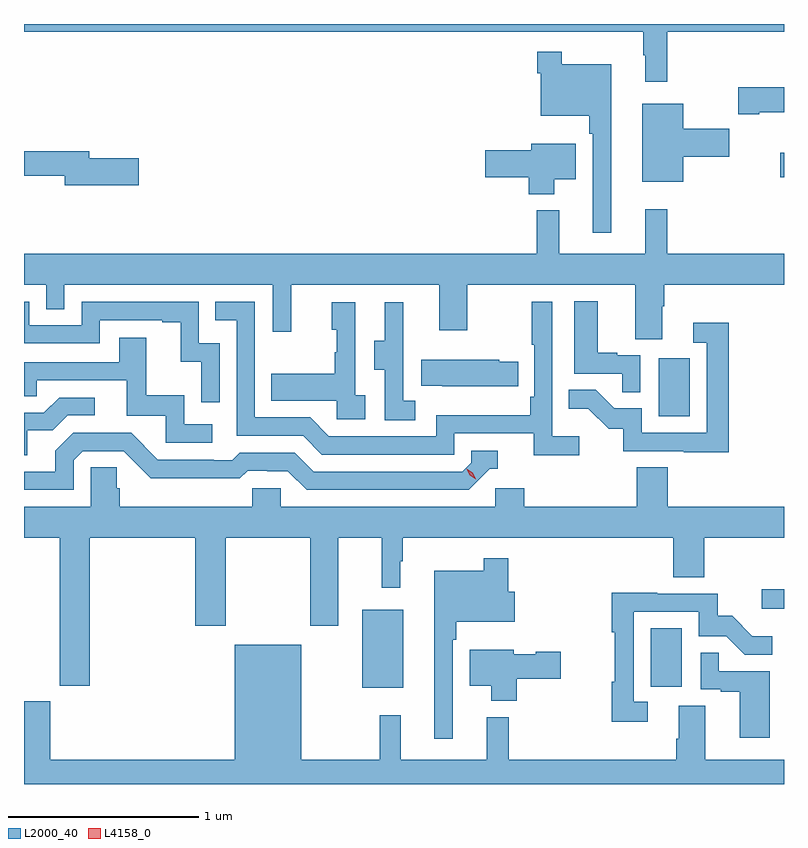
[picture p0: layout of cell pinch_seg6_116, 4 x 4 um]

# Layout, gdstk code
import gdstk
lib = gdstk.Library(unit=1e-6, precision=1e-09)
def R(c, l, rs):  # rectangles x0, y0, x1, y1
    for r in rs: c.add(gdstk.rectangle(r[:2], r[2:], *l))
def P(c, l, *ps):  # polygons
    for p in ps: c.add(gdstk.Polygon(p, *l))
L2000_40 = (2000, 40)
L4158_0 = (4158, 0)

pinch_seg6_116 = lib.new_cell('pinch_seg6_116')
R(pinch_seg6_116, L2000_40, [(995.192,929.231,995.407,929.641), (996.71,929.238,996.874,929.545), (997.293,929.648,997.411,929.75), (996.752,930.66,996.916,930.967), (997.392,931.918,997.411,932.047)])
P(pinch_seg6_116, L2000_40, [(996.797,932.684),(997.411,932.684),(997.411,932.725),(993.411,932.725),(993.411,932.684),(996.669,932.684),(996.669,932.561),(996.68,932.561),(996.68,932.421),(996.797,932.421)],
  [(996.502,932.512),(996.241,932.512),(996.241,932.578),(996.112,932.578),(996.112,932.465),(996.132,932.465),(996.132,932.243),(996.385,932.243),(996.385,932.147),(996.405,932.147),(996.405,931.626),(996.502,931.626)],
  [(997.282,932.261),(997.411,932.261),(997.411,932.391),(997.17,932.391),(997.17,932.249),(997.282,932.249)],
  [(996.88,932.027),(997.123,932.027),(997.123,932.174),(996.88,932.174),(996.88,932.305),(996.665,932.305),(996.665,931.895),(996.88,931.895)],
  [(996.202,931.907),(996.316,931.907),(996.316,932.095),(996.08,932.095),(996.08,932.06),(995.838,932.06),(995.838,931.918),(996.068,931.918),(996.068,931.829),(996.202,931.829)],
  [(994.015,932.018),(993.754,932.018),(993.754,932.054),(993.411,932.054),(993.411,931.926),(993.626,931.926),(993.626,931.876),(994.015,931.876)],
  [(996.769,931.24),(996.782,931.24),(996.782,931.352),(997.411,931.352),(997.411,931.516),(996.797,931.516),(996.797,931.75),(996.68,931.75),(996.68,931.516),(996.227,931.516),(996.227,931.744),(996.109,931.744),(996.109,931.516),(993.411,931.516),(993.411,931.352),(993.528,931.352),(993.528,931.225),(993.624,931.225),(993.624,931.352),(994.719,931.352),(994.719,931.104),(994.817,931.104),(994.817,931.352),(995.597,931.352),(995.597,931.113),(995.745,931.113),(995.745,931.352),(996.629,931.352),(996.629,931.066),(996.769,931.066)],
  [(996.654,930.981),(996.533,930.981),(996.533,930.994),(996.43,930.994),(996.43,931.267),(996.308,931.267),(996.308,930.885),(996.559,930.885),(996.559,930.787),(996.654,930.787)],
  [(996.334,930.556),(996.192,930.556),(996.192,931.264),(996.084,931.264),(996.084,931.036),(996.096,931.036),(996.096,930.763),(996.076,930.763),(996.076,930.667),(995.58,930.667),(995.58,930.555),(995.016,930.555),(994.917,930.654),(994.626,930.654),(994.626,931.263),(994.417,931.263),(994.417,931.167),(994.53,931.167),(994.53,930.558),(994.88,930.558),(994.979,930.459),(995.676,930.459),(995.676,930.57),(996.095,930.57),(996.095,930.454),(996.334,930.454)],
  [(994.44,931.044),(994.332,931.044),(994.332,931.263),(993.714,931.263),(993.714,931.14),(993.438,931.14),(993.438,931.263),(993.411,931.263),(993.411,931.044),(993.81,931.044),(993.81,931.167),(994.139,931.167),(994.139,931.155),(994.235,931.155),(994.235,930.947),(994.344,930.947),(994.344,930.735),(994.44,930.735)],
  [(995.47,930.743),(995.406,930.743),(995.406,931.047),(995.408,931.047),(995.408,931.261),(995.309,931.261),(995.309,931.059),(995.255,931.059),(995.255,930.904),(995.31,930.904),(995.31,930.64),(995.47,930.64)],
  [(995.206,930.77),(995.154,930.77),(995.154,931.261),(995.03,931.261),(995.03,931.116),(995.056,931.116),(995.056,930.998),(995.046,930.998),(995.046,930.883),(994.711,930.883),(994.711,930.743),(995.058,930.743),(995.058,930.645),(995.206,930.645)],
  [(997.121,931.153),(996.933,931.153),(996.933,931.047),(997.005,931.047),(997.005,930.573),(996.663,930.573),(996.663,930.702),(996.518,930.702),(996.42,930.8),(996.277,930.8),(996.277,930.701),(996.381,930.701),(996.488,930.594),(996.565,930.594),(996.565,930.477),(996.883,930.477),(996.883,930.472),(997.121,930.472)],
  [(994.402,930.618),(994.254,930.618),(994.254,930.772),(994.055,930.772),(994.055,931.075),(993.911,931.075),(993.911,930.945),(993.411,930.945),(993.411,930.765),(993.479,930.765),(993.479,930.849),(993.953,930.849),(993.953,930.663),(994.158,930.663),(994.158,930.522),(994.402,930.522)],
  [(996.011,930.948),(995.913,930.948),(995.913,930.958),(995.503,930.958),(995.503,930.821),(995.611,930.821),(995.611,930.818),(996.011,930.818)],
  [(993.427,930.586),(993.562,930.586),(993.642,930.666),(993.784,930.666),(993.784,930.759),(993.596,930.759),(993.515,930.678),(993.411,930.678),(993.411,930.454),(993.427,930.454)],
  [(993.672,930.429),(993.72,930.477),(993.936,930.477),(994.078,930.335),(994.314,930.335),(994.314,930.333),(994.547,930.333),(994.589,930.375),(994.692,930.375),(994.692,930.372),(994.799,930.372),(994.898,930.273),(995.751,930.273),(995.862,930.384),(995.905,930.384),(995.905,930.48),(995.766,930.48),(995.766,930.417),(995.718,930.369),(994.935,930.369),(994.836,930.468),(994.547,930.468),(994.508,930.429),(994.409,930.429),(994.409,930.432),(994.116,930.432),(993.975,930.573),(993.669,930.573),(993.575,930.479),(993.575,930.369),(993.411,930.369),(993.411,930.273),(993.672,930.273)],
  [(993.758,930.02),(994.313,930.02),(994.313,929.559),(994.473,929.559),(994.473,930.02),(994.918,930.02),(994.918,929.559),(995.065,929.559),(995.065,930.02),(995.293,930.02),(995.293,929.757),(995.392,929.757),(995.392,929.897),(995.404,929.897),(995.404,930.02),(996.827,930.02),(996.827,929.812),(996.992,929.812),(996.992,930.02),(997.411,930.02),(997.411,930.184),(996.8,930.184),(996.8,930.392),(996.635,930.392),(996.635,930.184),(996.044,930.184),(996.044,930.282),(995.892,930.282),(995.892,930.184),(994.761,930.184),(994.761,930.282),(994.611,930.282),(994.611,930.184),(993.914,930.184),(993.914,930.282),(993.899,930.282),(993.899,930.392),(993.762,930.392),(993.762,930.184),(993.411,930.184),(993.411,930.02),(993.598,930.02),(993.598,929.241),(993.758,929.241)],
  [(995.667,929.483),(995.687,929.483),(995.687,929.579),(995.995,929.579),(995.995,929.737),(995.96,929.737),(995.96,929.914),(995.832,929.914),(995.832,929.848),(995.57,929.848),(995.57,928.962),(995.667,928.962)],
  [(996.694,929.157),(996.621,929.157),(996.621,929.631),(996.963,929.631),(996.963,929.502),(997.107,929.502),(997.205,929.404),(997.349,929.404),(997.349,929.503),(997.245,929.503),(997.138,929.61),(997.062,929.61),(997.062,929.727),(996.743,929.727),(996.743,929.732),(996.505,929.732),(996.505,929.524),(996.52,929.524),(996.52,929.264),(996.505,929.264),(996.505,929.052),(996.694,929.052)],
  [(997.411,928.852),(996.997,928.852),(996.997,929.138),(996.857,929.138),(996.857,928.964),(996.845,928.964),(996.845,928.852),(995.963,928.852),(995.963,929.077),(995.846,929.077),(995.846,928.852),(995.393,928.852),(995.393,929.086),(995.283,929.086),(995.283,928.852),(994.87,928.852),(994.87,929.458),(994.52,929.458),(994.52,928.852),(993.55,928.852),(993.55,929.161),(993.411,929.161),(993.411,928.725),(997.411,928.725)],
  [(996.005,929.278),(996.235,929.278),(996.235,929.42),(996.105,929.42),(996.105,929.407),(995.988,929.407),(995.988,929.431),(995.756,929.431),(995.756,929.243),(995.87,929.243),(995.87,929.162),(996.005,929.162)],
  [(997.336,929.319),(997.067,929.319),(997.067,929.417),(996.972,929.417),(996.972,929.223),(997.079,929.223),(997.079,929.211),(997.178,929.211),(997.178,928.968),(997.336,928.968)])
P(pinch_seg6_116, L4158_0, [(995.788,930.33),(995.757,930.35),(995.741,930.382),(995.741,930.383),(995.741,930.383),(995.772,930.363),(995.788,930.33),(995.788,930.33)])

lib.write_gds('pinch_seg6_116.gds')
